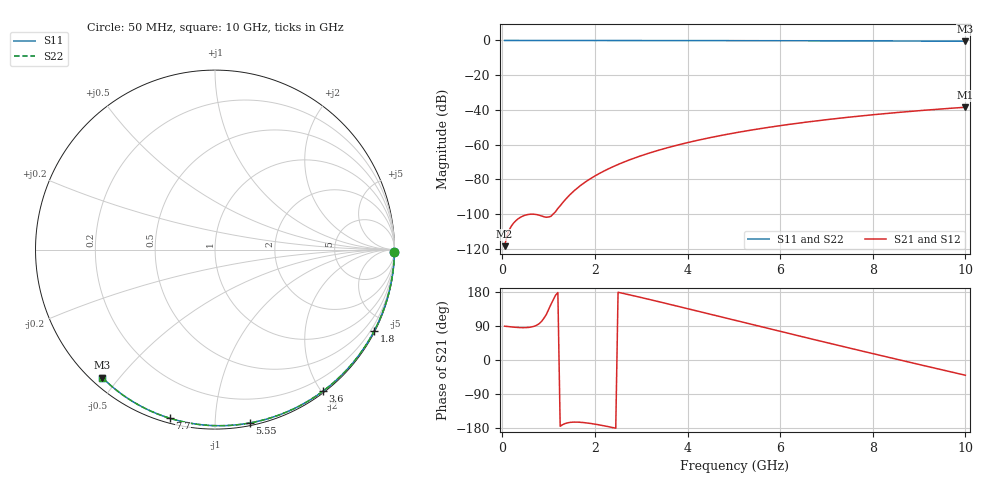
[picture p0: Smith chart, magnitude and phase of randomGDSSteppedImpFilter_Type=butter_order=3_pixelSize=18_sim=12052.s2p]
! freq	dB(S11)	phase(S11)	dB(S12)	phase(S12)
!  dB(S21)	phase(S21)	dB(S22)	phase(S22)
!S-par simulation data
#  GHz  S  DB  R 50
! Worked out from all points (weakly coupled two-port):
!   200 points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, 50 MHz to 10 GHz, reference 50 ohm
!   highest |S21| = -38.49 dB at 10 GHz (marker M1); lowest = -118.5 dB at 50 MHz (marker M2)
!   lowest |S11| = -0.4 dB at 10 GHz (marker M3), VSWR 39.11, Z = 1.54 - j22.6 ohm
!   |S11| at or under -10 dB: nowhere
!   |S22| runs from -0.4 to 0.0 dB; largest |S21 - S12| = 0
!   S11 on the Smith chart (normalised r, x): 50 MHz: open; 1.8 GHz: 0.04, -4.18; 3.6 GHz: 0.02, -2.02; 5.55 GHz: 0.02, -1.22; 7.7 GHz: 0.02, -0.77; 10 GHz: 0.03, -0.45
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0.05  -0.00 -0.8  -118.53 89.3  -118.53 89.3  -0.00 -0.8
0.9  -0.02 -13.6  -101.58 110.4  -101.58 110.4  -0.02 -13.6
1.75  -0.03 -26.2  -82.38 -165.0  -82.38 -165.0  -0.03 -26.2
1.8  -0.03 -26.9  -81.44 -165.7  -81.44 -165.7  -0.03 -26.9
1.85  -0.04 -27.6  -80.55 -166.5  -80.55 -166.5  -0.04 -27.6
1.9  -0.04 -28.4  -79.70 -167.3  -79.70 -167.3  -0.04 -28.4
2.05  -0.04 -30.6  -77.31 -170.3  -77.31 -170.3  -0.04 -30.6
2.25  -0.04 -33.5  -74.51 -174.9  -74.51 -174.9  -0.04 -33.5
2.45  -0.05 -36.4  -72.03 -180.0  -72.03 -180.0  -0.05 -36.4
2.65  -0.05 -39.2  -69.81 174.7  -69.81 174.7  -0.05 -39.2
3  -0.06 -44.2  -66.40 164.9  -66.40 164.9  -0.06 -44.2
3.4  -0.07 -49.8  -63.06 153.3  -63.06 153.3  -0.07 -49.8
3.6  -0.07 -52.6  -61.57 147.4  -61.57 147.4  -0.07 -52.6
4.3  -0.09 -62.2  -57.05 126.5  -57.05 126.5  -0.09 -62.2
5.05  -0.11 -72.1  -53.12 104.0  -53.12 104.0  -0.11 -72.2
5.55  -0.13 -78.6  -50.89 89.0  -50.89 89.0  -0.13 -78.6
6.1  -0.15 -85.6  -48.71 72.6  -48.71 72.6  -0.15 -85.6
6.7  -0.18 -93.0  -46.61 54.9  -46.61 54.9  -0.18 -93.0
7.7  -0.24 -105.0  -43.61 25.6  -43.61 25.6  -0.24 -105.0
8.35  -0.29 -112.6  -41.94 6.8  -41.94 6.8  -0.29 -112.6
9.15  -0.36 -121.7  -40.14 -16.1  -40.14 -16.1  -0.36 -121.7
10  -0.44 -131.3  -38.49 -40.2  -38.49 -40.2  -0.44 -131.3
